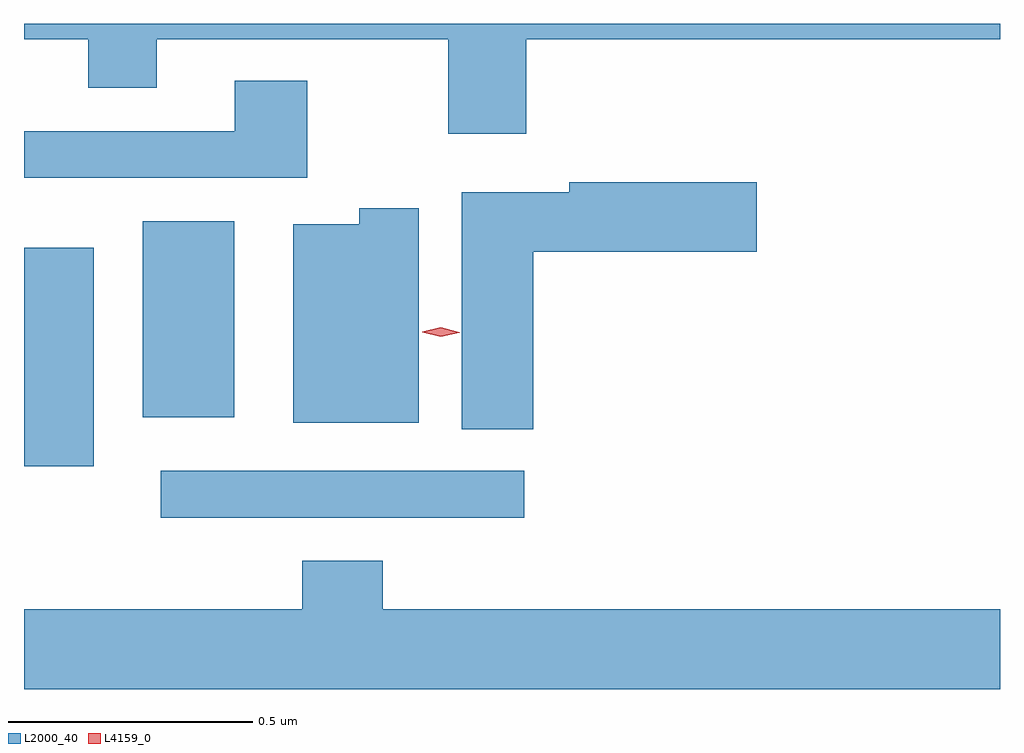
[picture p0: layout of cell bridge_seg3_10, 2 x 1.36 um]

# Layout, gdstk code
import gdstk
lib = gdstk.Library(unit=1e-6, precision=1e-09)
def R(c, l, rs):  # rectangles x0, y0, x1, y1
    for r in rs: c.add(gdstk.rectangle(r[:2], r[2:], *l))
def P(c, l, *ps):  # polygons
    for p in ps: c.add(gdstk.Polygon(p, *l))
L2000_40 = (2000, 40)
L4159_0 = (4159, 0)

bridge_seg3_10 = lib.new_cell('bridge_seg3_10')
R(bridge_seg3_10, L2000_40, [(687.765,747.888,688.51,747.984), (687.485,747.993,687.628,748.441), (687.728,748.094,687.916,748.495)])
P(bridge_seg3_10, L2000_40, [(688.514,748.868),(689.485,748.868),(689.485,748.9),(687.485,748.9),(687.485,748.868),(687.617,748.868),(687.617,748.769),(687.757,748.769),(687.757,748.868),(688.354,748.868),(688.354,748.674),(688.514,748.674)],
  [(688.065,748.783),(687.917,748.783),(687.917,748.68),(687.485,748.68),(687.485,748.584),(688.065,748.584)],
  [(688.529,748.433),(688.987,748.433),(688.987,748.575),(688.602,748.575),(688.602,748.555),(688.382,748.555),(688.382,748.069),(688.529,748.069)],
  [(688.294,748.522),(688.172,748.522),(688.172,748.489),(688.037,748.489),(688.037,748.082),(688.294,748.082)],
  [(689.485,747.7),(688.22,747.7),(688.22,747.799),(688.055,747.799),(688.055,747.7),(687.485,747.7),(687.485,747.536),(689.485,747.536)])
P(bridge_seg3_10, L4159_0, [(688.339,748.258),(688.301,748.268),(688.301,748.268),(688.301,748.269),(688.339,748.278),(688.377,748.268),(688.378,748.267),(688.377,748.267)])

lib.write_gds('bridge_seg3_10.gds')
